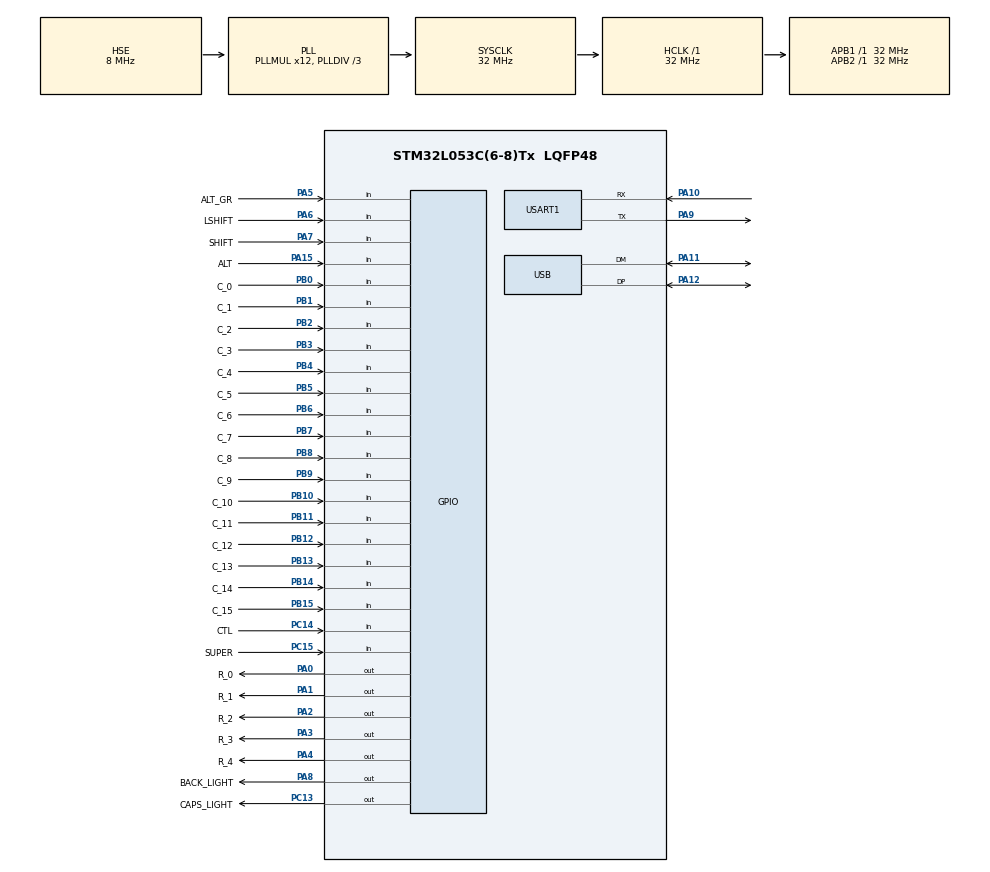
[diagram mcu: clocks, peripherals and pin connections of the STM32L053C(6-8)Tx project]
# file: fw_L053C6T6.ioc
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Mcu.Family=STM32L0
Mcu.Name=STM32L053C(6-8)Tx
Mcu.Package=LQFP48
NVIC.USB_IRQn=true\:0\:0\:false\:false\:true\:false\:true
PA0.GPIO_Label=R_0
PA0.Signal=GPIO_Output
PA1.GPIO_Label=R_1
PA1.Signal=GPIO_Output
PA10.Mode=Asynchronous
PA10.Signal=USART1_RX
PA11.Mode=Device
PA11.Signal=USB_DM
PA12.Mode=Device
PA12.Signal=USB_DP
PA13.Mode=Serial_Wire
PA13.Signal=SYS_SWDIO
PA14.Mode=Serial_Wire
PA14.Signal=SYS_SWCLK
PA15.GPIO_Label=ALT
PA15.Signal=GPIO_Input
PA2.GPIO_Label=R_2
PA2.Signal=GPIO_Output
PA3.GPIO_Label=R_3
PA3.Signal=GPIO_Output
PA4.GPIO_Label=R_4
PA4.Signal=GPIO_Output
PA5.GPIO_Label=ALT_GR
PA5.Signal=GPIO_Input
PA6.GPIO_Label=LSHIFT
PA6.Signal=GPIO_Input
PA7.GPIO_Label=SHIFT
PA7.Signal=GPIO_Input
PA8.GPIO_Label=BACK_LIGHT
PA8.Signal=GPIO_Output
PA9.Mode=Asynchronous
PA9.Signal=USART1_TX
PB0.GPIO_Label=C_0
PB0.Signal=GPIO_Input
PB1.GPIO_Label=C_1
PB1.Signal=GPIO_Input
PB10.GPIO_Label=C_10
PB10.Signal=GPIO_Input
PB11.GPIO_Label=C_11
PB11.Signal=GPIO_Input
PB12.GPIO_Label=C_12
PB12.Signal=GPIO_Input
PB13.GPIO_Label=C_13
PB13.Signal=GPIO_Input
PB14.GPIO_Label=C_14
PB14.Signal=GPIO_Input
PB15.GPIO_Label=C_15
PB15.Signal=GPIO_Input
PB2.GPIO_Label=C_2
PB2.Signal=GPIO_Input
PB3.GPIO_Label=C_3
PB3.Signal=GPIO_Input
PB4.GPIO_Label=C_4
PB4.Signal=GPIO_Input
PB5.GPIO_Label=C_5
PB5.Signal=GPIO_Input
PB6.GPIO_Label=C_6
PB6.Signal=GPIO_Input
PB7.GPIO_Label=C_7
PB7.Signal=GPIO_Input
PB8.GPIO_Label=C_8
PB8.Signal=GPIO_Input
PB9.GPIO_Label=C_9
PB9.Signal=GPIO_Input
PC13.GPIO_Label=CAPS_LIGHT
PC13.Signal=GPIO_Output
PC14-OSC32_IN.GPIO_Label=CTL
PC14-OSC32_IN.Signal=GPIO_Input
PC15-OSC32_OUT.GPIO_Label=SUPER
PC15-OSC32_OUT.Signal=GPIO_Input
PH0-OSC_IN.Mode=HSE-External-Oscillator
PH0-OSC_IN.Signal=RCC_OSC_IN
PH1-OSC_OUT.Mode=HSE-External-Oscillator
PH1-OSC_OUT.Signal=RCC_OSC_OUT
ProjectManager.HeapSize=0x200
ProjectManager.StackSize=0x400
ProjectManager.TargetToolchain=SW4STM32
RCC.AHBFreq_Value=32000000
RCC.APB1Freq_Value=32000000
RCC.APB1TimFreq_Value=32000000
RCC.APB2Freq_Value=32000000
RCC.APB2TimFreq_Value=32000000
RCC.HCLKFreq_Value=32000000
RCC.HSE_VALUE=8000000
RCC.HSI16_VALUE=16000000
RCC.HSI48_VALUE=48000000
RCC.HSI_VALUE=16000000
RCC.LSE_VALUE=32768
RCC.MSI_VALUE=2097000
RCC.PLLDIV=RCC_PLLDIV_3
RCC.PLLMUL=RCC_PLLMUL_12
RCC.SYSCLKFreq_VALUE=32000000
RCC.SYSCLKSource=RCC_SYSCLKSOURCE_PLLCLK
RCC.VCOOutputFreq_Value=96000000
TIM2.Prescaler=32
TIM21.Prescaler=32
TIM22.Prescaler=32
TIM6.Prescaler=32
USART1.VirtualMode-Asynchronous=VM_ASYNC
USB_DEVICE.CLASS_NAME_FS=HID
USB_DEVICE.PRODUCT_STRING_HID_FS=MKB_01_Nils
USB_DEVICE.VirtualMode=Hid
USB_DEVICE.VirtualModeFS=Hid_FS
VP_TIM21_VS_ClockSourceINT.Mode=Internal
VP_TIM22_VS_ClockSourceINT.Mode=Internal
VP_TIM2_VS_ClockSourceINT.Mode=Internal
VP_TIM6_VS_ClockSourceINT.Mode=Enable_Timer
VP_USB_DEVICE_VS_USB_DEVICE_HID_FS.Mode=HID_FS
board=custom

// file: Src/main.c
/* USER CODE BEGIN Header */
/**
  ******************************************************************************
  * @file           : main.c
  * @brief          : Main program body
  ******************************************************************************
  * @attention
  *
  * <h2><center>&copy; Copyright (c) 2021 STMicroelectronics.
  * All rights reserved.</center></h2>
  *
  * This software component is licensed by ST under Ultimate Liberty license
  * SLA0044, the "License"; You may not use this file except in compliance with
  * the License. You may obtain a copy of the License at:
  *                             www.st.com/SLA0044
  *
  ******************************************************************************
  */
/* USER CODE END Header */
#include "main.h"
#include "usb_device.h"

/* USER CODE BEGIN Includes */

/*
 * in Middlewares/ST/STM32_USB_Device_Library/class/HID/Inc/usbd_hid.h
 * changed HID_MOUSE_REPORT_DESC_SIZE from 74U to 63U
 *
 * in Middlewares/ST/STM32_USB_Device_Library/class/HID/Inc/usbd_hid.c
 * changed nInterfaceProtocol in USBD_HID_CfgFSDesc from 2 to 1
 * changed data in HID_MOUSE_ReportDesc to be a keybord
 *
 */

/* USER CODE END Includes */

/* USER CODE BEGIN PD */
#define PRESS_REPORT_SIZE 8
/* USER CODE END PD */

TIM_HandleTypeDef htim2;
TIM_HandleTypeDef htim6;
TIM_HandleTypeDef htim21;
TIM_HandleTypeDef htim22;

UART_HandleTypeDef huart1;

/* USER CODE BEGIN PV */
extern USBD_HandleTypeDef hUsbDeviceFS;

typedef struct
{
	uint8_t MODIFIER;
	uint8_t RESERVED;
	uint8_t KEYCODE1;
	uint8_t KEYCODE2;
	uint8_t KEYCODE3;
	uint8_t KEYCODE4;
	uint8_t KEYCODE5;
	uint8_t KEYCODE6;
}subKeyBoard;

subKeyBoard keyBoardHIDsub = {0,0,0,0,0,0,0,0};

/* USER CODE END PV */

void SystemClock_Config(void);
static void MX_GPIO_Init(void);
static void MX_USART1_UART_Init(void);
static void MX_TIM2_Init(void);
static void MX_TIM6_Init(void);
static void MX_TIM21_Init(void);
static void MX_TIM22_Init(void);

int main(void)
{

  /* MCU Configuration--------------------------------------------------------*/

  /* Reset of all peripherals, Initializes the Flash interface and the Systick. */
  HAL_Init();

  /* Configure the system clock */
  SystemClock_Config();

  /* Initialize all configured peripherals */
  MX_GPIO_Init();
  MX_USART1_UART_Init();
  MX_USB_DEVICE_Init();
  MX_TIM2_Init();
  MX_TIM6_Init();
  MX_TIM21_Init();
  MX_TIM22_Init();
  /* USER CODE BEGIN 2 */

  char msg[100] = "L053C6T6 fw\n";
  uint32_t cnt = 0;

  uint8_t press_report[PRESS_REPORT_SIZE] = {0};
  press_report[2] = 7; // 'd'

  //HAL_Delay(2000);

  HAL_UART_Transmit(&huart1, (uint8_t *) msg, strlen(msg), 1000);

  HAL_GPIO_WritePin(CAPS_LIGHT_GPIO_Port, CAPS_LIGHT_Pin, GPIO_PIN_SET);

  HAL_GPIO_WritePin(GPIOA, BACK_LIGHT_Pin, GPIO_PIN_RESET);
  HAL_GPIO_WritePin(GPIOA, R_0_Pin|R_1_Pin|R_2_Pin|R_3_Pin|R_4_Pin, GPIO_PIN_RESET);
  uint8_t caps_state =  HAL_GPIO_ReadPin(GPIOB, C_0_Pin);
  uint8_t one_state =  HAL_GPIO_ReadPin(GPIOB, C_1_Pin);
  uint8_t ctl_state =  HAL_GPIO_ReadPin(GPIOC, CTL_Pin);

  /* USER CODE END 2 */

  /* Infinite loop */
  /* USER CODE BEGIN WHILE */
  while (1)
  {

	  HAL_Delay(1000);
	  caps_state =  HAL_GPIO_ReadPin(GPIOB, C_0_Pin);
	  one_state =  HAL_GPIO_ReadPin(GPIOB, C_1_Pin);
	  ctl_state =  HAL_GPIO_ReadPin(GPIOC, CTL_Pin);
	  sprintf(msg, "Alive %u, Caps: %u, C_1: %u, CTL: %u\n", cnt++, caps_state, one_state, ctl_state);
	  HAL_UART_Transmit(&huart1, (uint8_t *) msg, strlen(msg), 1000);

	  HAL_GPIO_TogglePin(CAPS_LIGHT_GPIO_Port, CAPS_LIGHT_Pin);

	  if(!ctl_state){

		  keyBoardHIDsub.KEYCODE2=0x06;  // Press C key
		  USBD_HID_SendReport(&hUsbDeviceFS,&keyBoardHIDsub,sizeof(keyBoardHIDsub));
		  HAL_Delay(50); 		       // Press all key for 50 milliseconds
		  keyBoardHIDsub.KEYCODE2=0x00;  // Release C key
		  USBD_HID_SendReport(&hUsbDeviceFS,&keyBoardHIDsub,sizeof(keyBoardHIDsub));

	  }

    /* USER CODE END WHILE */

  }
}

void SystemClock_Config(void)
{
  RCC_OscInitTypeDef RCC_OscInitStruct = {0};
  RCC_ClkInitTypeDef RCC_ClkInitStruct = {0};
  RCC_PeriphCLKInitTypeDef PeriphClkInit = {0};

  /** Configure the main internal regulator output voltage
  */
  __HAL_PWR_VOLTAGESCALING_CONFIG(PWR_REGULATOR_VOLTAGE_SCALE1);
  /** Initializes the RCC Oscillators according to the specified parameters
  * in the RCC_OscInitTypeDef structure.
  */
  RCC_OscInitStruct.OscillatorType = RCC_OSCILLATORTYPE_HSE;
  RCC_OscInitStruct.HSEState = RCC_HSE_ON;
  RCC_OscInitStruct.PLL.PLLState = RCC_PLL_ON;
  RCC_OscInitStruct.PLL.PLLSource = RCC_PLLSOURCE_HSE;
  RCC_OscInitStruct.PLL.PLLMUL = RCC_PLLMUL_12;
  RCC_OscInitStruct.PLL.PLLDIV = RCC_PLLDIV_3;
  if (HAL_RCC_OscConfig(&RCC_OscInitStruct) != HAL_OK)
  {
    Error_Handler();
  }
  /** Initializes the CPU, AHB and APB buses clocks
  */
  RCC_ClkInitStruct.ClockType = RCC_CLOCKTYPE_HCLK|RCC_CLOCKTYPE_SYSCLK
                              |RCC_CLOCKTYPE_PCLK1|RCC_CLOCKTYPE_PCLK2;
  RCC_ClkInitStruct.SYSCLKSource = RCC_SYSCLKSOURCE_PLLCLK;
  RCC_ClkInitStruct.AHBCLKDivider = RCC_SYSCLK_DIV1;
  RCC_ClkInitStruct.APB1CLKDivider = RCC_HCLK_DIV1;
  RCC_ClkInitStruct.APB2CLKDivider = RCC_HCLK_DIV1;

  if (HAL_RCC_ClockConfig(&RCC_ClkInitStruct, FLASH_LATENCY_1) != HAL_OK)
  {
    Error_Handler();
  }
  PeriphClkInit.PeriphClockSelection = RCC_PERIPHCLK_USART1|RCC_PERIPHCLK_USB;
  PeriphClkInit.Usart1ClockSelection = RCC_USART1CLKSOURCE_PCLK2;
  PeriphClkInit.UsbClockSelection = RCC_USBCLKSOURCE_PLL;
  if (HAL_RCCEx_PeriphCLKConfig(&PeriphClkInit) != HAL_OK)
  {
    Error_Handler();
  }
}

static void MX_TIM2_Init(void)
{

  TIM_ClockConfigTypeDef sClockSourceConfig = {0};
  TIM_MasterConfigTypeDef sMasterConfig = {0};

  htim2.Instance = TIM2;
  htim2.Init.Prescaler = 32;
  htim2.Init.CounterMode = TIM_COUNTERMODE_UP;
  htim2.Init.Period = 65535;
  htim2.Init.ClockDivision = TIM_CLOCKDIVISION_DIV1;
  htim2.Init.AutoReloadPreload = TIM_AUTORELOAD_PRELOAD_DISABLE;
  if (HAL_TIM_Base_Init(&htim2) != HAL_OK)
  {
    Error_Handler();
  }
  sClockSourceConfig.ClockSource = TIM_CLOCKSOURCE_INTERNAL;
  if (HAL_TIM_ConfigClockSource(&htim2, &sClockSourceConfig) != HAL_OK)
  {
    Error_Handler();
  }
  sMasterConfig.MasterOutputTrigger = TIM_TRGO_RESET;
  sMasterConfig.MasterSlaveMode = TIM_MASTERSLAVEMODE_DISABLE;
  if (HAL_TIMEx_MasterConfigSynchronization(&htim2, &sMasterConfig) != HAL_OK)
  {
    Error_Handler();
  }

}

static void MX_TIM6_Init(void)
{

  TIM_MasterConfigTypeDef sMasterConfig = {0};

  htim6.Instance = TIM6;
  htim6.Init.Prescaler = 32;
  htim6.Init.CounterMode = TIM_COUNTERMODE_UP;
  htim6.Init.Period = 65535;
  htim6.Init.AutoReloadPreload = TIM_AUTORELOAD_PRELOAD_DISABLE;
  if (HAL_TIM_Base_Init(&htim6) != HAL_OK)
  {
    Error_Handler();
  }
  sMasterConfig.MasterOutputTrigger = TIM_TRGO_RESET;
  sMasterConfig.MasterSlaveMode = TIM_MASTERSLAVEMODE_DISABLE;
  if (HAL_TIMEx_MasterConfigSynchronization(&htim6, &sMasterConfig) != HAL_OK)
  {
    Error_Handler();
  }

}

static void MX_TIM21_Init(void)
{

  TIM_ClockConfigTypeDef sClockSourceConfig = {0};
  TIM_MasterConfigTypeDef sMasterConfig = {0};

  htim21.Instance = TIM21;
  htim21.Init.Prescaler = 32;
  htim21.Init.CounterMode = TIM_COUNTERMODE_UP;
  htim21.Init.Period = 65535;
  htim21.Init.ClockDivision = TIM_CLOCKDIVISION_DIV1;
  htim21.Init.AutoReloadPreload = TIM_AUTORELOAD_PRELOAD_DISABLE;
  if (HAL_TIM_Base_Init(&htim21) != HAL_OK)
  {
    Error_Handler();
  }
  sClockSourceConfig.ClockSource = TIM_CLOCKSOURCE_INTERNAL;
  if (HAL_TIM_ConfigClockSource(&htim21, &sClockSourceConfig) != HAL_OK)
  {
    Error_Handler();
  }
  sMasterConfig.MasterOutputTrigger = TIM_TRGO_RESET;
  sMasterConfig.MasterSlaveMode = TIM_MASTERSLAVEMODE_DISABLE;
  if (HAL_TIMEx_MasterConfigSynchronization(&htim21, &sMasterConfig) != HAL_OK)
  {
    Error_Handler();
  }

}

static void MX_TIM22_Init(void)
{

  TIM_ClockConfigTypeDef sClockSourceConfig = {0};
  TIM_MasterConfigTypeDef sMasterConfig = {0};

  htim22.Instance = TIM22;
  htim22.Init.Prescaler = 32;
  htim22.Init.CounterMode = TIM_COUNTERMODE_UP;
  htim22.Init.Period = 65535;
  htim22.Init.ClockDivision = TIM_CLOCKDIVISION_DIV1;
  htim22.Init.AutoReloadPreload = TIM_AUTORELOAD_PRELOAD_DISABLE;
  if (HAL_TIM_Base_Init(&htim22) != HAL_OK)
  {
    Error_Handler();
  }
  sClockSourceConfig.ClockSource = TIM_CLOCKSOURCE_INTERNAL;
  if (HAL_TIM_ConfigClockSource(&htim22, &sClockSourceConfig) != HAL_OK)
  {
    Error_Handler();
  }
  sMasterConfig.MasterOutputTrigger = TIM_TRGO_RESET;
  sMasterConfig.MasterSlaveMode = TIM_MASTERSLAVEMODE_DISABLE;
  if (HAL_TIMEx_MasterConfigSynchronization(&htim22, &sMasterConfig) != HAL_OK)
  {
    Error_Handler();
  }

}

static void MX_USART1_UART_Init(void)
{

  huart1.Instance = USART1;
  huart1.Init.BaudRate = 115200;
  huart1.Init.WordLength = UART_WORDLENGTH_8B;
  huart1.Init.StopBits = UART_STOPBITS_1;
  huart1.Init.Parity = UART_PARITY_NONE;
  huart1.Init.Mode = UART_MODE_TX_RX;
  huart1.Init.HwFlowCtl = UART_HWCONTROL_NONE;
  huart1.Init.OverSampling = UART_OVERSAMPLING_16;
  huart1.Init.OneBitSampling = UART_ONE_BIT_SAMPLE_DISABLE;
  huart1.AdvancedInit.AdvFeatureInit = UART_ADVFEATURE_NO_INIT;
  if (HAL_UART_Init(&huart1) != HAL_OK)
  {
    Error_Handler();
  }

}

static void MX_GPIO_Init(void)
{
  GPIO_InitTypeDef GPIO_InitStruct = {0};

  /* GPIO Ports Clock Enable */
  __HAL_RCC_GPIOC_CLK_ENABLE();
  __HAL_RCC_GPIOH_CLK_ENABLE();
  __HAL_RCC_GPIOA_CLK_ENABLE();
  __HAL_RCC_GPIOB_CLK_ENABLE();

  /*Configure GPIO pin Output Level */
  HAL_GPIO_WritePin(CAPS_LIGHT_GPIO_Port, CAPS_LIGHT_Pin, GPIO_PIN_RESET);

  /*Configure GPIO pin Output Level */
  HAL_GPIO_WritePin(GPIOA, R_0_Pin|R_1_Pin|R_2_Pin|R_3_Pin
                          |R_4_Pin|BACK_LIGHT_Pin, GPIO_PIN_RESET);

  /*Configure GPIO pin : CAPS_LIGHT_Pin */
  GPIO_InitStruct.Pin = CAPS_LIGHT_Pin;
  GPIO_InitStruct.Mode = GPIO_MODE_OUTPUT_PP;
  GPIO_InitStruct.Pull = GPIO_NOPULL;
  GPIO_InitStruct.Speed = GPIO_SPEED_FREQ_LOW;
  HAL_GPIO_Init(CAPS_LIGHT_GPIO_Port, &GPIO_InitStruct);

  /*Configure GPIO pins : CTL_Pin SUPER_Pin */
  GPIO_InitStruct.Pin = CTL_Pin|SUPER_Pin;
  GPIO_InitStruct.Mode = GPIO_MODE_INPUT;
  GPIO_InitStruct.Pull = GPIO_NOPULL;
  HAL_GPIO_Init(GPIOC, &GPIO_InitStruct);

  /*Configure GPIO pins : R_0_Pin R_1_Pin R_2_Pin R_3_Pin
                           R_4_Pin BACK_LIGHT_Pin */
  GPIO_InitStruct.Pin = R_0_Pin|R_1_Pin|R_2_Pin|R_3_Pin
                          |R_4_Pin|BACK_LIGHT_Pin;
  GPIO_InitStruct.Mode = GPIO_MODE_OUTPUT_PP;
  GPIO_InitStruct.Pull = GPIO_NOPULL;
  GPIO_InitStruct.Speed = GPIO_SPEED_FREQ_LOW;
  HAL_GPIO_Init(GPIOA, &GPIO_InitStruct);

  /*Configure GPIO pins : ALT_GR_Pin LSHIFT_Pin SHIFT_Pin ALT_Pin */
  GPIO_InitStruct.Pin = ALT_GR_Pin|LSHIFT_Pin|SHIFT_Pin|ALT_Pin;
  GPIO_InitStruct.Mode = GPIO_MODE_INPUT;
  GPIO_InitStruct.Pull = GPIO_NOPULL;
  HAL_GPIO_Init(GPIOA, &GPIO_InitStruct);

  /*Configure GPIO pins : C_0_Pin C_1_Pin C_2_Pin C_10_Pin
                           C_11_Pin C_12_Pin C_13_Pin C_14_Pin
                           C_15_Pin C_3_Pin C_4_Pin C_5_Pin
                           C_6_Pin C_7_Pin C_8_Pin C_9_Pin */
  GPIO_InitStruct.Pin = C_0_Pin|C_1_Pin|C_2_Pin|C_10_Pin
                          |C_11_Pin|C_12_Pin|C_13_Pin|C_14_Pin
                          |C_15_Pin|C_3_Pin|C_4_Pin|C_5_Pin
                          |C_6_Pin|C_7_Pin|C_8_Pin|C_9_Pin;
  GPIO_InitStruct.Mode = GPIO_MODE_INPUT;
  GPIO_InitStruct.Pull = GPIO_NOPULL;
  HAL_GPIO_Init(GPIOB, &GPIO_InitStruct);

}

void Error_Handler(void)
{
  /* USER CODE BEGIN Error_Handler_Debug */
  /* User can add his own implementation to report the HAL error return state */
  __disable_irq();
  while (1)
  {
	  HAL_GPIO_TogglePin(CAPS_LIGHT_GPIO_Port, CAPS_LIGHT_Pin);
	  HAL_Delay(50);
  }
  /* USER CODE END Error_Handler_Debug */
}

/************************ (C) COPYRIGHT STMicroelectronics *****END OF FILE****/
